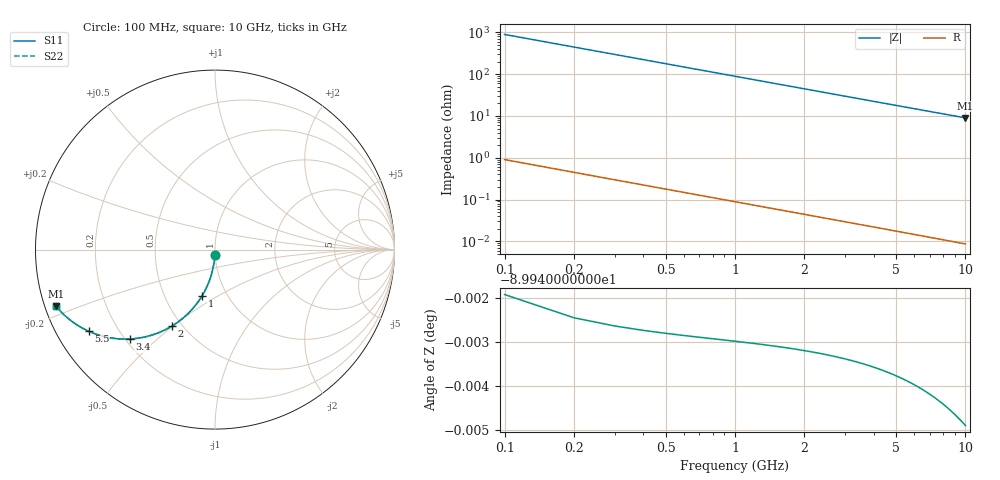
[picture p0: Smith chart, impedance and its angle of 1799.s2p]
# Hz S RI R 50.00
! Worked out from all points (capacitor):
!   100 points, 100 MHz to 10 GHz, reference 50 ohm
!   read as one part in shunt: C = 1.79 pF near 100 MHz
!   lowest |Z| = 9 ohm at 10 GHz (marker M1)
!   S11 on the Smith chart (normalised r, x): 100 MHz: 1.00, -0.06; 1 GHz: 0.76, -0.43; 2 GHz: 0.44, -0.50; 3.4 GHz: 0.22, -0.41; 5.5 GHz: 0.10, -0.29; 10 GHz: 0.03, -0.17
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1e8  -0.000802 -0.028  0.9992 -0.0281  0.9992 -0.0281  -0.000802 -0.028
2e8  -0.00318 -0.0559  0.9968 -0.056  0.9968 -0.056  -0.00318 -0.0559
3e8  -0.00711 -0.0835  0.9929 -0.0837  0.9929 -0.0837  -0.00711 -0.0835
4e8  -0.0125 -0.1108  0.9874 -0.111  0.9874 -0.111  -0.0125 -0.1108
5e8  -0.0194 -0.1375  0.9805 -0.1377  0.9805 -0.1377  -0.0194 -0.1375
6e8  -0.0277 -0.1636  0.9723 -0.1639  0.9723 -0.1639  -0.0277 -0.1636
7e8  -0.0373 -0.1889  0.9626 -0.1893  0.9626 -0.1893  -0.0373 -0.1889
8e8  -0.0482 -0.2135  0.9518 -0.2139  0.9518 -0.2139  -0.0482 -0.2135
1e9  -0.0732 -0.2598  0.9267 -0.2603  0.9267 -0.2603  -0.0732 -0.2598
1.2e9  -0.1021 -0.302  0.8979 -0.3026  0.8979 -0.3026  -0.1021 -0.302
1.4e9  -0.1339 -0.3398  0.866 -0.3404  0.866 -0.3404  -0.1339 -0.3398
1.8e9  -0.2034 -0.4016  0.7965 -0.4025  0.7965 -0.4025  -0.2034 -0.4016
2e9  -0.2396 -0.4259  0.7603 -0.4268  0.7603 -0.4268  -0.2396 -0.4259
2.3e9  -0.2941 -0.4546  0.7059 -0.4557  0.7059 -0.4557  -0.2941 -0.4546
2.7e9  -0.3645 -0.4802  0.6354 -0.4814  0.6354 -0.4814  -0.3645 -0.4802
3.4e9  -0.476 -0.4981  0.5239 -0.4997  0.5239 -0.4997  -0.476 -0.4981
4.2e9  -0.5806 -0.492  0.4193 -0.4939  0.4193 -0.4939  -0.5806 -0.492
5.1e9  -0.6709 -0.4682  0.329 -0.4706  0.329 -0.4706  -0.6709 -0.4682
5.5e9  -0.7032 -0.455  0.2967 -0.4576  0.2967 -0.4576  -0.7032 -0.455
6.7e9  -0.7783 -0.4133  0.2216 -0.4165  0.2216 -0.4165  -0.7783 -0.4133
8.4e9  -0.8463 -0.3581  0.1536 -0.3621  0.1536 -0.3621  -0.8463 -0.3581
1e10  -0.8863 -0.3145  0.1137 -0.3193  0.1137 -0.3193  -0.8863 -0.3145
